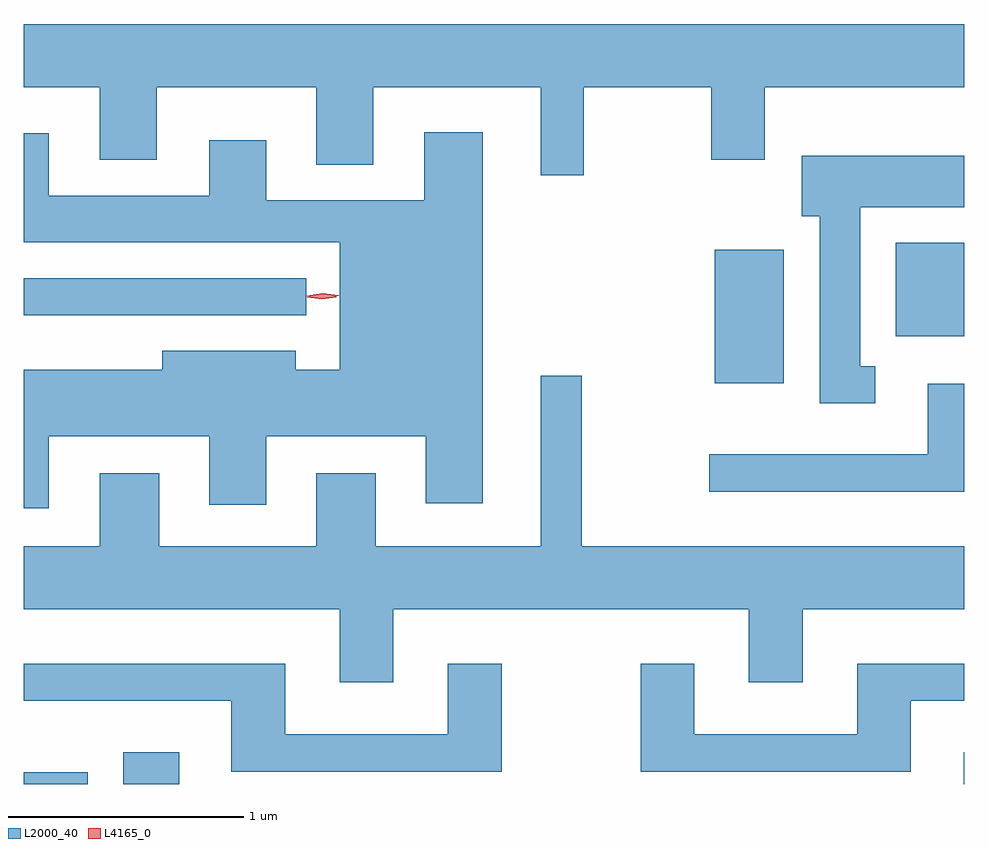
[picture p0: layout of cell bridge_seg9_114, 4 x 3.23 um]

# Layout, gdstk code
import gdstk
lib = gdstk.Library(unit=1e-6, precision=1e-09)
def R(c, l, rs):  # rectangles x0, y0, x1, y1
    for r in rs: c.add(gdstk.rectangle(r[:2], r[2:], *l))
def P(c, l, *ps):  # polygons
    for p in ps: c.add(gdstk.Polygon(p, *l))
L2000_40 = (2000, 40)
L4165_0 = (4165, 0)

bridge_seg9_114 = lib.new_cell('bridge_seg9_114')
R(bridge_seg9_114, L2000_40, [(1863.637,1944.453,1863.909,1944.504), (1864.061,1944.453,1864.298,1944.589), (1867.633,1944.453,1867.637,1944.589), (1866.576,1946.156,1866.869,1946.724), (1867.346,1946.356,1867.637,1946.754), (1863.637,1946.446,1864.838,1946.604)])
P(bridge_seg9_114, L2000_40, [(1866.019,1947.416),(1866.561,1947.416),(1866.561,1947.106),(1866.789,1947.106),(1866.789,1947.416),(1867.637,1947.416),(1867.637,1947.684),(1863.637,1947.684),(1863.637,1947.416),(1863.961,1947.416),(1863.961,1947.106),(1864.204,1947.106),(1864.204,1947.416),(1864.881,1947.416),(1864.881,1947.086),(1865.124,1947.086),(1865.124,1947.416),(1865.836,1947.416),(1865.836,1947.041),(1866.019,1947.041)],
  [(1863.744,1945.931),(1864.426,1945.931),(1864.426,1945.641),(1864.669,1945.641),(1864.669,1945.931),(1865.346,1945.931),(1865.346,1945.646),(1865.589,1945.646),(1865.589,1947.224),(1865.341,1947.224),(1865.341,1946.934),(1864.669,1946.934),(1864.669,1947.189),(1864.426,1947.189),(1864.426,1946.954),(1863.744,1946.954),(1863.744,1947.219),(1863.637,1947.219),(1863.637,1946.756),(1864.981,1946.756),(1864.981,1946.214),(1864.794,1946.214),(1864.794,1946.294),(1864.226,1946.294),(1864.226,1946.214),(1863.637,1946.214),(1863.637,1945.626),(1863.744,1945.626)],
  [(1867.258,1946.229),(1867.194,1946.229),(1867.194,1946.906),(1867.637,1946.906),(1867.637,1947.124),(1866.946,1947.124),(1866.946,1946.866),(1867.021,1946.866),(1867.021,1946.071),(1867.258,1946.071)],
  [(1865.209,1945.196),(1866.721,1945.196),(1866.721,1944.886),(1866.949,1944.886),(1866.949,1945.196),(1867.637,1945.196),(1867.637,1945.464),(1866.009,1945.464),(1866.009,1946.189),(1865.836,1946.189),(1865.836,1945.464),(1865.134,1945.464),(1865.134,1945.774),(1864.881,1945.774),(1864.881,1945.464),(1864.214,1945.464),(1864.214,1945.774),(1863.961,1945.774),(1863.961,1945.464),(1863.637,1945.464),(1863.637,1945.196),(1864.981,1945.196),(1864.981,1944.886),(1865.209,1944.886)],
  [(1867.637,1946.154),(1867.481,1946.154),(1867.481,1945.854),(1866.553,1945.854),(1866.553,1945.696),(1867.637,1945.696)],
  [(1867.409,1944.806),(1867.637,1944.806),(1867.637,1944.964),(1867.181,1944.964),(1867.181,1944.664),(1866.489,1944.664),(1866.489,1944.964),(1866.261,1944.964),(1866.261,1944.506),(1867.409,1944.506)],
  [(1865.669,1944.964),(1865.441,1944.964),(1865.441,1944.664),(1864.749,1944.664),(1864.749,1944.964),(1863.637,1944.964),(1863.637,1944.806),(1864.521,1944.806),(1864.521,1944.506),(1865.669,1944.506)])
P(bridge_seg9_114, L4165_0, [(1864.908,1946.519),(1864.84,1946.528),(1864.839,1946.528),(1864.84,1946.529),(1864.908,1946.539),(1864.977,1946.53),(1864.977,1946.529),(1864.977,1946.529)],
  [(1864.905,1946.514),(1864.843,1946.523),(1864.843,1946.524),(1864.843,1946.524),(1864.905,1946.534),(1864.967,1946.524),(1864.968,1946.524),(1864.967,1946.523)])

lib.write_gds('bridge_seg9_114.gds')
